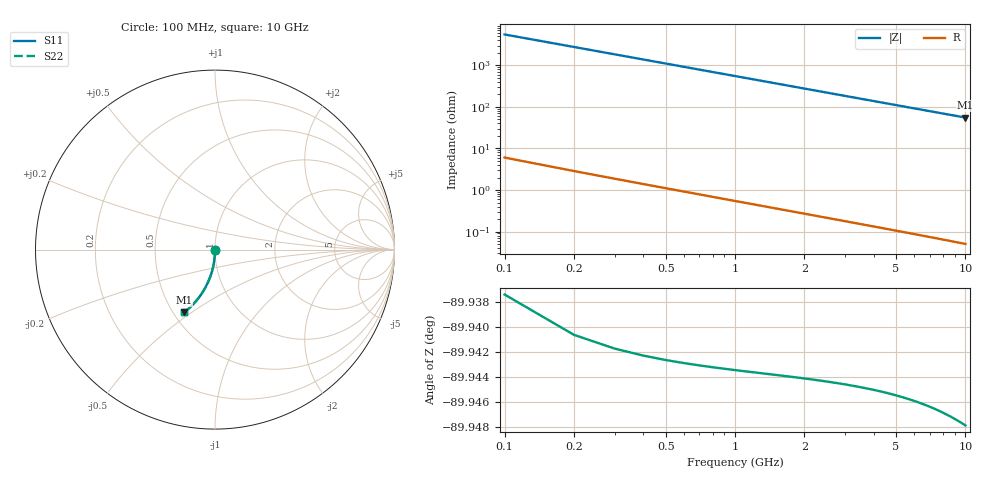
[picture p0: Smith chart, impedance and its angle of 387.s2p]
# Hz S RI R 50.00
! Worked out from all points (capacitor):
!   100 points, 100 MHz to 10 GHz, reference 50 ohm
!   read as one part in shunt: C = 288 fF near 100 MHz
!   lowest |Z| = 55.4 ohm at 10 GHz (marker M1)
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1e8  0.000156 -0.00425  0.9998 -0.0048  0.9998 -0.0048  0.000156 -0.00425
2e8  9.17e-05 -0.00849  0.9997 -0.0096  0.9997 -0.0096  9.17e-05 -0.00849
3e8  -1.37e-05 -0.0127  0.9996 -0.0144  0.9996 -0.0144  -1.37e-05 -0.0127
4e8  -0.00016 -0.017  0.9995 -0.0192  0.9995 -0.0192  -0.00016 -0.017
5e8  -0.000347 -0.0212  0.9993 -0.024  0.9993 -0.024  -0.000347 -0.0212
6e8  -0.000575 -0.0255  0.999 -0.0288  0.999 -0.0288  -0.000575 -0.0255
7e8  -0.000843 -0.0297  0.9988 -0.0336  0.9988 -0.0336  -0.000843 -0.0297
8e8  -0.00115 -0.0339  0.9985 -0.0383  0.9985 -0.0383  -0.00115 -0.0339
9e8  -0.0015 -0.0382  0.9981 -0.0431  0.9981 -0.0431  -0.0015 -0.0382
1.1e9  -0.00232 -0.0466  0.9973 -0.0527  0.9973 -0.0527  -0.00232 -0.0466
1.4e9  -0.00385 -0.0592  0.9957 -0.0669  0.9957 -0.0669  -0.00385 -0.0592
1.8e9  -0.00645 -0.0759  0.9931 -0.0859  0.9931 -0.0859  -0.00645 -0.0759
2.1e9  -0.00882 -0.0884  0.9907 -0.1  0.9907 -0.1  -0.00882 -0.0884
2.5e9  -0.0125 -0.1048  0.987 -0.1186  0.987 -0.1186  -0.0125 -0.1048
2.9e9  -0.0168 -0.1211  0.9827 -0.1371  0.9827 -0.1371  -0.0168 -0.1211
3.4e9  -0.023 -0.141  0.9764 -0.1598  0.9764 -0.1598  -0.023 -0.141
4.2e9  -0.0348 -0.1721  0.9645 -0.1953  0.9645 -0.1953  -0.0348 -0.1721
5.1e9  -0.0506 -0.2055  0.9486 -0.2337  0.9486 -0.2337  -0.0506 -0.2055
5.9e9  -0.0667 -0.2336  0.9323 -0.2662  0.9323 -0.2662  -0.0667 -0.2336
6.7e9  -0.0846 -0.26  0.9143 -0.2972  0.9143 -0.2972  -0.0846 -0.26
8.4e9  -0.1273 -0.3103  0.8712 -0.357  0.8712 -0.357  -0.1273 -0.3103
1e10  -0.1719 -0.3498  0.8261 -0.4055  0.8261 -0.4055  -0.1719 -0.3498
